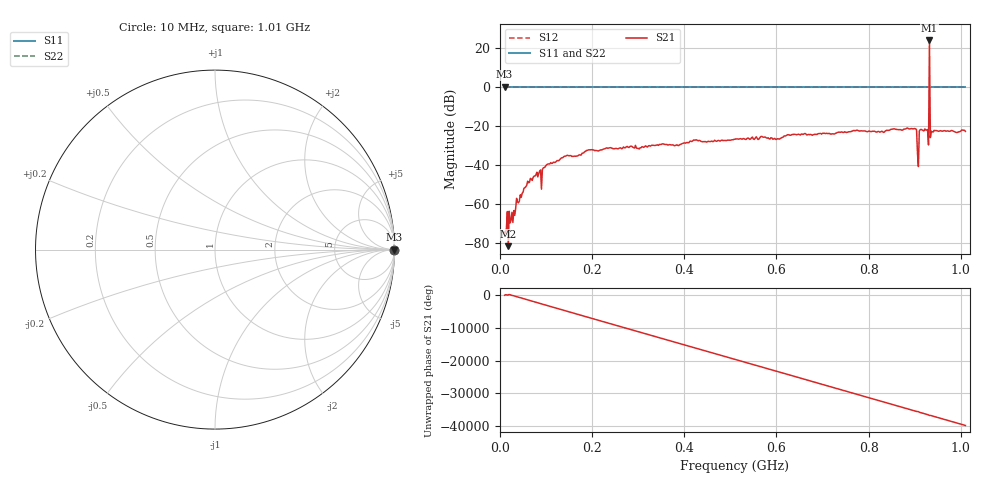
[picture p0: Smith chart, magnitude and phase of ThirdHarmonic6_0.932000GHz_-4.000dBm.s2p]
! 8/16/2025 6:22:08 AM
! C:\ANRITSUVNA\TEMP\TEMP.S2P
! CHANNEL.1
! TR.MEASUREMENT
! RAW.DATA
! RF.CORRECTION.OFF
! AVERAGING.OFF
! IF.BANDWIDTH: 5KHZ
! SWEEPTYPE:  FREQ.SWEEP(Linear)
! Reference Plane Port Info
! PORT:  PORT1  PORT2
! DISTANCE:  0  m  0  m
! TIME:  0  s  0  s
! PHASE.OFFSET:  0  deg.  0  deg.
! LOSS:  0  dB  0  dB
! REF.LOSS:  0  dB  0  dB
! REF.FREQ:  0  Hz  0  Hz
! Power Info
! POWER:  -20  dBm  -20  dBm
! EFF.POWER:  -20  dBm  -20  dBm
! SOURCE.ATTEN:  0  dB  0  dB
! TEST.ATTEN:  0  dB  0  dB
# GHZ S RI R 50.0
! FREQ.GHZ  S11RE  S11IM  S21RE  S21IM  S12RE  S12IM  S22RE  S22IM
!; PortSelection: Port_12
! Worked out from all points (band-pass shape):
!   501 points, 10 MHz to 1.01 GHz, reference 50 ohm
!   highest |S21| = 23.74 dB at 932 MHz (marker M1); lowest = -81.8 dB at 18 MHz (marker M2)
!   |S21| within 3 dB of the highest: 931.8881 MHz to 932.1204 MHz (232.4 kHz wide, 0.0249 % of centre)
!   lowest |S11| = 0.0 dB at 10 MHz (marker M3)
!   |S11| at or under -10 dB: nowhere
!   |S22| runs from 0.0 to 0.0 dB; largest |S21 - S12| = 14
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0.01  1 0  -4.31e-05 -0.000184  1 0  1 0
0.018  1 0  5.51e-05 5.97e-05  1 0  1 0
0.056  1 0  -0.00053 0.00267  1 0  1 0
0.076  1 0  0.00511 0.000453  1 0  1 0
0.086  1 0  0.0052 -0.00429  1 0  1 0
0.142  1 0  -0.015 -0.0069  1 0  1 0
0.178  1 0  -0.0188 -0.00542  1 0  1 0
0.344  1 0  0.0311 -0.0038  1 0  1 0
0.51  1 0  -0.0442 0.00819  1 0  1 0
0.678  1 0  -0.014 -0.0551  1 0  1 0
0.844  1 0  0.0418 0.0637  1 0  1 0
0.9  1 0  0.0572 -0.0623  1 0  1 0
0.904  1 0  -0.0681 0.0413  1 0  1 0
0.908  1 0  0.000251 0.00896  1 0  1 0
0.91  1 0  -0.000393 -0.0741  1 0  1 0
0.914  1 0  -0.0248 0.0766  1 0  1 0
0.926  1 0  0.0757 -0.0168  1 0  1 0
0.928  1 0  -0.00571 -0.0794  1 0  1 0
0.932  1 0  15.36 0.781  1 0  1 0
0.936  1 0  0.034 -0.0642  1 0  1 0
0.938  1 0  -0.0536 -0.044  1 0  1 0
1.01  1 0  -0.0671 -0.0253  1 0  1 0
